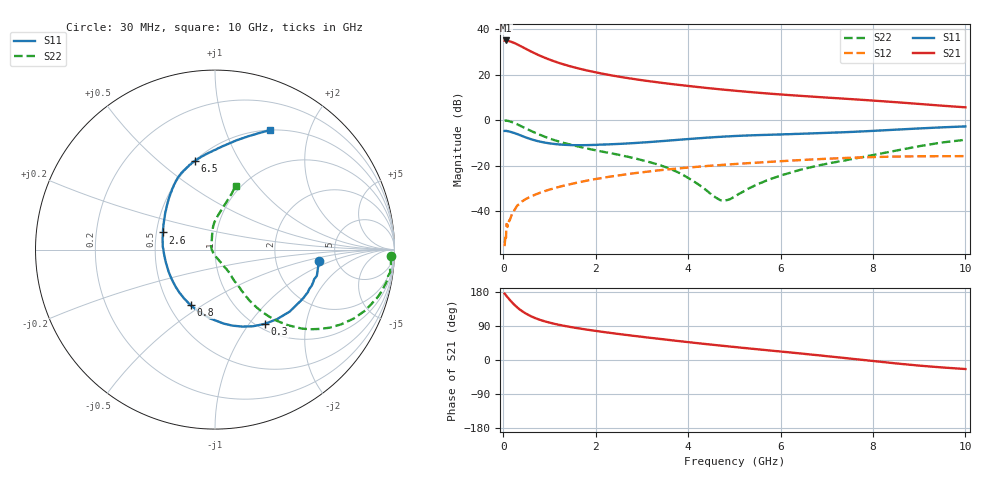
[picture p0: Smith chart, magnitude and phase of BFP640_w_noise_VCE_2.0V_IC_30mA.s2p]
! (c) 2013  Infineon Technologies AG, Munich
! Infineon Technologies  Discrete & RF Semiconductors
! BFP640
! VCE =  2.0 V,  IC =  30 mA
! Common Emitter S-Parameters:  Apr 2013
# GHz  S  MA  R  50
!  f  S11  S21  S12  S22
! GHz  MAG  ANG  MAG  ANG  MAG  ANG  MAG  ANG
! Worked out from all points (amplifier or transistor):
!   99 points, 30 MHz to 10 GHz, reference 50 ohm
!   highest |S21| = 35.1 dB at 50 MHz (marker M1)
!   |S21| within 3 dB of that: start of sweep to 425.6 MHz
!   unconditionally stable (mu >= 1): 2.235 GHz to end of sweep
!   at 350 MHz: K = 0.37, MSG = 34.9 dB, |S12| = -36.8 dB
!   at 3.5 GHz: K = 1.05, MAG = 17.7 dB, |S12| = -21.8 dB
!   at 10 GHz: K = 1.07, MAG = 9.2 dB, |S12| = -15.8 dB
!   lowest NFmin = 1.07 dB at 450 MHz
!   S11 on the Smith chart (normalised r, x): 30 MHz: 3.66, -0.68; 300 MHz: 1.09, -1.19; 800 MHz: 0.64, -0.45; 2.6 GHz: 0.54, +0.11; 6.5 GHz: 0.50, +0.67; 10 GHz: 0.50, +1.44
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0.03  0.583 -6.0  56.53 175.2  0.0017 84.2  0.9786 -2.2
0.05  0.5825 -10.3  56.95 172.4  0.003 95.6  0.9835 -4.9
0.08  0.5767 -16.6  56.56 167.7  0.0052 75.1  0.9755 -8.7
0.15  0.5573 -30.5  54.19 157.5  0.0067 81.3  0.9405 -16.8
0.2  0.5407 -39.7  51.95 150.9  0.0093 78.1  0.904 -22.0
0.25  0.5194 -48.2  49.59 144.7  0.0108 73.0  0.8624 -26.5
0.3  0.4984 -56.1  46.84 139.2  0.0132 71.3  0.8175 -30.6
0.4  0.4545 -70.7  41.62 129.6  0.0162 67.7  0.7295 -37.3
0.5  0.4151 -83.3  36.78 121.9  0.0188 65.0  0.652 -42.4
0.6  0.3836 -94.5  32.63 115.5  0.0211 64.0  0.5842 -46.1
0.7  0.3575 -104.6  29.12 110.2  0.0233 62.0  0.526 -49.0
0.8  0.3381 -113.8  26.17 105.8  0.0255 61.8  0.4764 -51.2
1  0.311 -129.6  21.64 98.7  0.0298 60.7  0.3985 -54.2
1.2  0.2943 -143.1  18.35 93.0  0.0341 60.0  0.3416 -55.9
1.7  0.2831 -168.5  13.24 82.2  0.0445 57.4  0.2538 -57.0
2.6  0.3054 161.8  8.77 67.1  0.0633 51.6  0.1652 -58.3
3.4  0.3464 142.9  6.721 55.5  0.0798 45.1  0.1019 -62.6
5.1  0.4543 116.5  4.389 33.1  0.1104 30.4  0.024 150.3
6.5  0.5073 102.7  3.409 16.4  0.1343 18.2  0.085 100.8
6.7  0.5151 100.5  3.305 13.9  0.1375 16.3  0.0948 98.9
8.5  0.6217 78.7  2.497 -9.0  0.1591 -2.0  0.215 81.8
10  0.7323 65.3  1.926 -23.8  0.1627 -13.9  0.3723 72.1
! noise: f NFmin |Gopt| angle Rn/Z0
0.45  1.07  0.19  -171  0.03
0.9  1.08  0.2  -159  0.04
1.5  1.09  0.23  -144  0.06
1.9  1.1  0.24  -135  0.07
2.4  1.13  0.27  -122  0.09
3.5  1.26  0.31  -105  0.13
5.5  1.46  0.33  -92  0.21
10  1.93  0.6  -52  0.58
